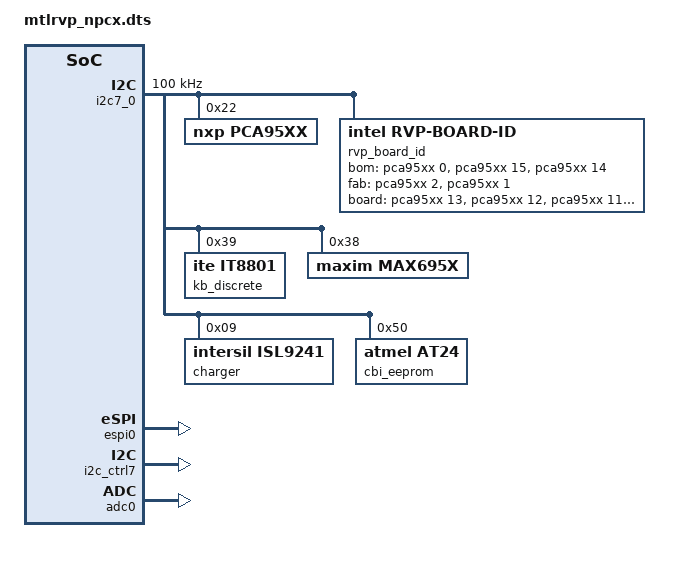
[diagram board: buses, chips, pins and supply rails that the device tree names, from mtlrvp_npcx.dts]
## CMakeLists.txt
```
# Copyright 2022 The ChromiumOS Authors
# Use of this source code is governed by a BSD-style license that can be
# found in the LICENSE file.

zephyr_library_sources("src/mtlrvp_npcx.c")
zephyr_library_sources("src/usb_config.c")
```

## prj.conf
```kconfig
# Copyright 2022 The ChromiumOS Authors
# Use of this source code is governed by a BSD-style license that can be
# found in the LICENSE file.

CONFIG_BOARD_MTLRVP_NPCX=y
CONFIG_PLATFORM_EC_KEYBOARD_CUSTOMIZATION=y
CONFIG_INPUT_SHELL_KBD_MATRIX_STATE=y
CONFIG_PLATFORM_EC_KEYBOARD_STRAUSS=y
```

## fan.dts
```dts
/* Copyright 2022 The ChromiumOS Authors
 * Use of this source code is governed by a BSD-style license that can be
 * found in the LICENSE file.
 */

/ {
	fans {
		compatible = "cros-ec,fans";

		fan_0 {
			pwms = <&pwm3 0 PWM_KHZ(30) PWM_POLARITY_NORMAL>;
			rpm-min = <3200>;
			rpm-start = <2200>;
			rpm-max = <6600>;
			tach = <&tach2>;
			pgood-gpio = <&all_sys_pwrgd>;
			enable-gpio = <&gpio_fan_control>;
		};
	};
};

/* Tachemeter for fan speed measurement */
&tach2 {
	status = "okay";
	pinctrl-0 = <&ta2_1_in_gp73>; /* TA2 input on GPIO73 */
	pinctrl-names = "default";
	port = <NPCX_TACH_PORT_A>; /* port-A is selected */
	sample-clk = <NPCX_TACH_FREQ_LFCLK>; /* Use LFCLK as sampling clock */
	pulses-per-round = <2>; /* number of pulses per round of encoder */
};

&pwm3 {
	status = "okay";
	pinctrl-0 = <&pwm3_gp80>;
	pinctrl-names = "default";
};
```

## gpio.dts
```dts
/* Copyright 2022 The ChromiumOS Authors
 * Use of this source code is governed by a BSD-style license that can be
 * found in the LICENSE file.
 */

/ {
	aliases {
		gpio-wp = &gpio_wp;
	};

	named-gpios {
		compatible = "named-gpios";

		ioex_kbd_intr_n: ioex-kbd-intr-n {
			gpios = <&gpio0 0 GPIO_INPUT>;
			enum-name = "GPIO_KB_DISCRETE_INT";
		};
		all_sys_pwrgd: all-sys-pwrgd {
			gpios = <&gpio7 0 GPIO_INPUT>;
			enum-name = "GPIO_PG_EC_ALL_SYS_PWRGD";
		};
		rsmrst_pwrgd: rsmrst-pwrgd {
			gpios = <&gpio6 6 (GPIO_INPUT | GPIO_VOLTAGE_1P8)>;
			enum-name = "GPIO_PG_EC_RSMRST_ODL";
		};
		pch_slp_s0_n: pch-slp-s0-n-ec {
			gpios = <&gpioa 1 GPIO_INPUT>;
			enum-name = "GPIO_PCH_SLP_S0_L"; /* 1.8V */
		};
		pm-slp-s3-n-ec {
			gpios = <&gpiob 0 GPIO_INPUT>; /* 1.8V */
			enum-name = "GPIO_PCH_SLP_S3_L";
		};
		pm-slp-s4-n-ec {
			gpios = <&gpioa 5 GPIO_INPUT>; /* 1.8V */
		};
		volume-up {
			gpios = <&gpio6 1 (GPIO_INPUT | GPIO_PULL_UP)>;
			enum-name = "GPIO_VOLUME_UP_L";
		};
		vol-dn-ec-r {
			gpios = <&gpio0 3 (GPIO_INPUT | GPIO_PULL_UP)>;
			enum-name = "GPIO_VOLUME_DOWN_L";
		};
		smc_lid: smc-lid {
			gpios = <&gpio0 1 (GPIO_INPUT | GPIO_PULL_UP)>;
			enum-name = "GPIO_LID_OPEN";
		};
		smc_onoff_n: smc-onoff-n {
			gpios = <&gpiod 2 GPIO_INPUT>;
			enum-name = "GPIO_POWER_BUTTON_L";
		};
		gpio_wp: wp-l {
			gpios = <&gpiod 5 GPIO_INPUT>;
		};
		std_adp_prsnt: std-adp-prsnt {
			gpios = <&gpioc 6 GPIO_INPUT>;
			enum-name = "GPIO_DC_JACK_PRESENT";
		};
		bc_acok: bc-acok-ec {
			gpios = <&gpio0 2 GPIO_INPUT>;
			enum-name = "GPIO_AC_PRESENT";
		};
		gpio_ec_pch_wake_odl: pch-wake-n {
			gpios = <&gpio7 4 GPIO_ODR_HIGH>;
		};
		espi-rst-n {
			gpios = <&gpio5 4 GPIO_INPUT>; /* 1.8V */
		};
		plt-rst-l {
			gpios = <&gpioa 2 GPIO_INPUT>; /* 1.8V */
		};
		slate-mode-indication {
			gpios = <&gpio9 4 GPIO_INPUT>; /* 1.8V */
		};
		prochot-ec {
			gpios = <&gpio6 0 GPIO_INPUT>;
			enum-name = "GPIO_CPU_PROCHOT";
		};
		sys_rst_odl: sys-rst-odl-ec {
			gpios = <&gpioc 5 GPIO_ODR_HIGH>;
			enum-name = "GPIO_SYS_RESET_L";
		};
		ec_pch_rsmrst_l: pm-rsmrst-r-n {
			gpios = <&gpioa 4 GPIO_OUTPUT_LOW>; /* 1.8V */
			enum-name = "GPIO_PCH_RSMRST_L";
		};
		pm-pwrbtn-n-ec {
			gpios = <&gpiod 4 GPIO_ODR_HIGH>;
			enum-name = "GPIO_PCH_PWRBTN_L";
		};
		ec_spi_oe_mecc: ec-spi-oe-mecc-r {
			gpios = <&gpioa 7 GPIO_OUTPUT_LOW>; /* 1.8V */
		};
		en_pp3300_a: ec-ds3-r {
			gpios = <&gpioc 4 GPIO_OUTPUT_LOW>;
			enum-name = "GPIO_EN_PP3300_A";
			alias = "GPIO_TEMP_SENSOR_POWER";
		};
		ec_pch_pwrok_od: pch-pwrok-ec-r {
			gpios = <&gpiod 3 GPIO_ODR_LOW>;
			enum-name = "GPIO_PCH_PWROK";
		};
		sys_pwrok_ec: sys-pwrok-ec {
			gpios = <&gpiof 5 GPIO_ODR_LOW>;
			enum-name = "GPIO_PCH_SYS_PWROK";
		};
		bat-det-ec {
			gpios = <&gpio7 6 GPIO_INPUT>;
			enum-name = "GPIO_BATT_PRES_ODL";
		};
		edp-bklt-en {
			gpios = <&gpioe 1 GPIO_OUTPUT_HIGH>;
		};
		/* TODO: move both LEDs to PWM */
		led-1-l-ec {
			gpios = <&gpiob 6 GPIO_OUTPUT_HIGH>;
		};
		led-2-l-ec {
			gpios = <&gpiob 7 GPIO_OUTPUT_HIGH>;
		};
		gpio_fan_control: therm-sen-mecc-r {
			gpios = <&gpioc 0 GPIO_OUTPUT_LOW>;
		};
		/* NOTE: Netname is USBC_TCPC_ALRT_P3 */
		ccd_mode_odl: ccd-mode-odl {
			gpios = <&gpio9 2 GPIO_INPUT>;
			enum-name = "GPIO_CCD_MODE_ODL";
		};
		smb-bs-clk {
			gpios = <&gpiob 3 GPIO_INPUT>;
		};
		smb-bs-data {
			gpios = <&gpiob 2 GPIO_INPUT>;
		};
		usbc-tcpc-i2c-clk-aic1 {
			gpios = <&gpiob 5 GPIO_INPUT>;
		};
		usbc-tcpc-i2c-data-aic1 {
			gpios = <&gpiob 4 GPIO_INPUT>;
		};
		usbc-tcpc-i2c-clk-aic2 {
			gpios = <&gpio9 0 (GPIO_INPUT | GPIO_VOLTAGE_1P8)>;
		};
		usbc-tcpc-i2c-data-aic2 {
			gpios = <&gpio8 7 (GPIO_INPUT | GPIO_VOLTAGE_1P8)>;
		};
		/* Unused 1.8V pins */
		i3c-1-sda-r {
			gpios = <&gpio5 0 GPIO_INPUT>;
		};
		i3c-1-scl-r {
			gpios = <&gpio5 6 GPIO_INPUT>;
		};
		espi-alert0-n-r {
			gpios = <&gpio5 7 GPIO_INPUT>;
		};
		tp-gpio95 {
			gpios = <&gpio9 5 GPIO_OUTPUT_LOW>;
			enum-name = "GPIO_DEBUG_TCPC";
		};
		cpu-c10-gate {
			gpios = <&gpio9 6 GPIO_INPUT>;
		};
		slp-s0-cs-n-ec {
			gpios = <&gpio9 7 GPIO_INPUT>;
		};
		rtc-rst-n-r {
			gpios = <&gpioa 0 GPIO_INPUT>;
		};
		tp-gpioa6 {
			gpios = <&gpioa 6 GPIO_INPUT>;
		};
		sml1-clk-mecc {
			gpios = <&gpio3 3 (GPIO_INPUT | GPIO_VOLTAGE_1P8)>;
		};
		sml1-data-mecc {
			gpios = <&gpio3 6 (GPIO_INPUT | GPIO_VOLTAGE_1P8)>;
		};
		sml1-alert {
			gpios = <&gpioc 7 (GPIO_INPUT | GPIO_VOLTAGE_1P8)>;
		};
		smb-pch-alrt {
			gpios = <&gpioa 3 GPIO_INPUT>;
		};
		smb-pch-data {
			gpios = <&gpioc 1 (GPIO_INPUT | GPIO_VOLTAGE_1P8)>;
		};
		smb-pch-clk {
			gpios = <&gpioc 2 (GPIO_INPUT | GPIO_VOLTAGE_1P8)>;
		};
		/* Unused 3.3V pins */
		cpu-cat-err-mecc {
			gpios = <&gpio3 4 GPIO_INPUT>;
		};
		tp-gpio37 {
			gpios = <&gpio3 7 GPIO_INPUT>;
		};
		tp-vccpdsw-3p3-ec {
			gpios = <&gpio4 5 GPIO_INPUT>;
		};
		mech-pwr-btn-in-odl {
			gpios = <&gpio6 2 GPIO_INPUT>;
		};
		tp-gpio63 {
			gpios = <&gpio6 3 GPIO_INPUT>;
		};
		tp-gpio67 {
			gpios = <&gpio6 7 GPIO_INPUT>;
		};
		tp-gpio72 {
			gpios = <&gpio7 2 GPIO_INPUT>;
		};
		tp-gpio75 {
			gpios = <&gpio7 5 GPIO_INPUT>;
		};
		ec-peci-ec {
			gpios = <&gpio8 1 GPIO_INPUT>;
		};
		tp-gpiob1 {
			gpios = <&gpiob 1 GPIO_INPUT>;
		};
		std-adpt-cntrl-GPIO_r {
			gpios = <&gpioc 3 GPIO_INPUT>;
		};
		ec-packet-mode-ec {
			gpios = <&gpioe 2 GPIO_INPUT>;
		};
		tp-gpioe3 {
			gpios = <&gpioe 3 GPIO_INPUT>;
		};
		boot-stall-r {
			gpios = <&gpioe 5 GPIO_INPUT>;
		};
		tp-gpiof0 {
			gpios = <&gpiof 0 GPIO_INPUT>;
		};
		tp-gpiof1 {
			gpios = <&gpiof 1 GPIO_INPUT>;
		};
		tp-gpiof4 {
			gpios = <&gpiof 4 GPIO_INPUT>;
		};

		/* KBD IOEX configuration */
		srtc-rst {
			gpios = <&ioex_it8801_port0 3 GPIO_OUTPUT_LOW>;
		};
		ec-h1-packet-mode {
			gpios = <&ioex_it8801_port0 4 GPIO_OUTPUT_LOW>;
			enum-name = "GPIO_PACKET_MODE_EN";
		};
		rtc-rst {
			gpios = <&ioex_it8801_port0 6 GPIO_OUTPUT_LOW>;
		};
		ec-entering-rw {
			gpios = <&ioex_it8801_port0 7 GPIO_OUTPUT_LOW>;
			enum-name = "GPIO_ENTERING_RW";
		};
		ioex-sys-rst-odl-ec {
			gpios = <&ioex_it8801_port1 0 GPIO_INPUT>;
		};
		ioex-slate-mode-indication {
			gpios = <&ioex_it8801_port1 2 GPIO_INPUT>;
		};


		/* unimplemented GPIOs */
		en-pp5000 {
			enum-name = "GPIO_EN_PP5000";
		};
	};
};
```

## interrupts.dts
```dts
/* Copyright 2022 The ChromiumOS Authors
 * Use of this source code is governed by a BSD-style license that can be
 * found in the LICENSE file.
 */
/ {
	gpio-interrupts {
		compatible = "cros-ec,gpio-interrupts";

		int_lid_open: lid_open {
			irq-pin = <&smc_lid>;
			flags = <GPIO_INT_EDGE_BOTH>;
			handler = "lid_interrupt";
		};
		int_power_button: power_button {
			irq-pin = <&smc_onoff_n>;
			flags = <GPIO_INT_EDGE_BOTH>;
			handler = "power_button_interrupt";
		};
		int_ac_present: ac_present {
			irq-pin = <&bc_acok>;
			flags = <GPIO_INT_EDGE_BOTH>;
			handler = "extpower_interrupt";
		};
		int_ioex_kbd_intr_n: ioex_kbd_intr_n {
			irq-pin = <&ioex_kbd_intr_n>;
			flags = <GPIO_INT_EDGE_FALLING>;
			handler = "io_expander_it8801_interrupt";
		};
		int_ccd_mode: ccd_mode {
			irq-pin = <&ccd_mode_odl>;
			flags = <GPIO_INT_EDGE_BOTH>;
			handler = "board_connect_c0_sbu";
		};
		int_dc_jack_present: dc_jack_present {
			irq-pin = <&std_adp_prsnt>;
			flags = <GPIO_INT_EDGE_BOTH>;
			handler = "board_dc_jack_interrupt";
		};
	};
};
```

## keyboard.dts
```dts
/* Copyright 2022 The ChromiumOS Authors
 * Use of this source code is governed by a BSD-style license that can be
 * found in the LICENSE file.
 */
&cros_kb_raw {
	status = "okay";
	/* No KSO2 (it's inverted and implemented by GPIO) */
	pinctrl-0 = <
		&ksi0_gp31
		&ksi1_gp30
		&ksi2_gp27
		&ksi3_gp26
		&ksi4_gp25
		&ksi5_gp24
		&ksi6_gp23
		&ksi7_gp22
		&kso00_gp21
		&kso01_gp20
		&kso02_gp17
		&kso03_gp16
		&kso04_gp15
		&kso05_gp14
		&kso06_gp13
		&kso07_gp12
		&kso08_gp11
		&kso09_gp10
		&kso10_gp07
		&kso11_gp06
		&kso12_gp05
		&kso13_gp04
		&kso14_gp82
		&kso15_gp83
	>;
	pinctrl-names = "default";
};

/ {
	chosen {
		cros-ec,keyboard = &kbd;
	};

	cros-keyscan {
		compatible = "cros-ec,keyscan";

		/* TODO: Use actual values */
		actual-key-mask = <
			0xff  /* C0 */
			0xff  /* C1 */
			0xff  /* C2 */
			0xff  /* C3 */
			0xff  /* C4 */
			0xff  /* C5 */
			0xff  /* C6 */
			0xff  /* C7 */
			0xff  /* C8 */
			0xff  /* C9 */
			0xff  /* C10 */
			0xff  /* C11 */
			0xff  /* C12 */
			0xff  /* C13 */
			0xff  /* C14 */
			0xff  /* C15 */
			>;
	};
};

&vivaldi_kbd {
	vivaldi-keys = <
		KBD_RC(6, 2)   /* T1 */
		KBD_RC(6, 3)   /* T2 */
		KBD_RC(1, 3)   /* T3 */
		KBD_RC(3, 3)   /* T4 */
		KBD_RC(7, 0)   /* T5 */
		KBD_RC(3, 6)   /* T6 */
		KBD_RC(1, 7)   /* T7 */
		KBD_RC(6, 7)   /* T8 */
		KBD_RC(6, 10)  /* T9 */
		KBD_RC(7, 10)  /* T10 */
		KBD_RC(3, 10)  /* T11 */
		KBD_RC(5, 10)  /* T12 */
	>;

	kbd_config_0: kbd-config-0 {
		vivaldi-codes = <
			VIVALDI_TK_VOL_MUTE           /* T1 */
			VIVALDI_TK_VOL_DOWN           /* T2 */
			VIVALDI_TK_VOL_UP             /* T3 */
			VIVALDI_TK_PLAY_PAUSE         /* T4 */
			VIVALDI_TK_FULLSCREEN         /* T5* */
			VIVALDI_TK_SNAPSHOT           /* T6* */
			VIVALDI_TK_BACK               /* T7* */
			VIVALDI_TK_REFRESH            /* T8* */
			VIVALDI_TK_BRIGHTNESS_DOWN    /* T9 */
			VIVALDI_TK_BRIGHTNESS_UP      /* T10 */
			VIVALDI_TK_DONOTDISTURB       /* T11* */
			VIVALDI_TK_OVERVIEW           /* T12* */
		>;
		capabilities = <(VIVALDI_KEYBD_CAP_FUNCTION_KEYS |
				VIVALDI_KEYBD_CAP_SCRNLOCK_KEY |
				VIVALDI_KEYBD_CAP_ASSISTANT_KEY)>;
	};
};
```

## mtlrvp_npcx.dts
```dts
/* Copyright 2022 The ChromiumOS Authors
 * Use of this source code is governed by a BSD-style license that can be
 * found in the LICENSE file.
 */

 #include <dt-bindings/usb_pd_tcpm.h>

/ {
	chosen {
		cros,rtc = &mtc;
		zephyr,host-cmd-espi-backend = &espi0;
	};

	hibernate-wake-pins {
		compatible = "cros-ec,hibernate-wake-pins";
		wakeup-irqs = <
			&int_ac_present
			&int_lid_open
			&int_power_button
		>;
	};

	named-i2c-ports {
		compatible = "named-i2c-ports";

		i2c_charger: charger {
			i2c-port = <&i2c7_0>;
			enum-names = "I2C_PORT_CHARGER",
				"I2C_PORT_BATTERY",
				"I2C_PORT_EEPROM",
				"I2C_PORT_KB_DISCRETE",
				"I2C_PORT_PORT80";
		};
	};

	named-adc-channels {
		compatible = "named-adc-channels";

		adc_ambient: ambient {
			enum-name = "ADC_TEMP_SENSOR_1";
			io-channels = <&adc0 3>;
		};
		adc_ddr: ddr {
			enum-name = "ADC_TEMP_SENSOR_2";
			io-channels = <&adc0 4>;
		};
		adc_skin: skin {
			enum-name = "ADC_TEMP_SENSOR_3";
			io-channels = <&adc0 2>;
		};
		adc_vr: vr {
			enum-name = "ADC_TEMP_SENSOR_4";
			io-channels = <&adc0 1>;
		};
	};
};

/* charger */
&i2c7_0 {
	label = "I2C_CHARGER";
	status = "okay";
	clock-frequency = <I2C_BITRATE_STANDARD>;
	pinctrl-0 = <&i2c7_0_sda_scl_gpb2_b3>;
	pinctrl-names = "default";

	pca95xx: pca95xx@22 {
		compatible = "nxp,pca95xx";
		label = "PCA95XX";
		reg = <0x22>;
		gpio-controller;
		#gpio-cells = <2>;
		ngpios = <16>;
	};

	rvp_board_id: rvp-board-id {
		compatible = "intel,rvp-board-id";

		/*
		 * BOM ID [2]   : IOEX[0]
		 * BOM ID [1:0] : IOEX[15:14]
		 */
		bom-gpios = <&pca95xx 0 0>, <&pca95xx 15 0>, <&pca95xx 14 0>;

		/*
		 * FAB ID [1:0] : IOEX[2:1]
		 */
		fab-gpios = <&pca95xx 2 0>, <&pca95xx 1 0>;

		/*
		 * BOARD ID[5:0] : IOEX[13:8]
		 */
		board-gpios = <&pca95xx 13 0>, <&pca95xx 12 0>, <&pca95xx 11 0>,
			      <&pca95xx 10 0>, <&pca95xx 9 0>, <&pca95xx 8 0>;
	};

	kb_discrete: ite-it8801@39 {
		compatible = "ite,it8801";
		reg = <0x39>;
	};

	max695x@38 {
		compatible = "maxim,max695x";
		reg = <0x38>;
	};

	charger: isl9241@9 {
		compatible = "intersil,isl9241";
		status = "okay";
		reg = <0x9>;
	};

	cbi_eeprom: eeprom@50 {
		compatible = "atmel,at24";
		reg = <0x50>;
		size = <2048>;
		pagesize = <16>;
		address-width = <8>;
		timeout = <5>;
	};
};

/* host interface */
&espi0 {
	status = "okay";
	pinctrl-0 = <&espi_lpc_gp46_47_51_52_53_54_55_57>;
	pinctrl-names = "default";
};

&i2c_ctrl7 {
	status = "okay";
};

&adc0 {
	status = "okay";
	pinctrl-0 = <&adc0_chan1_gp44
		     &adc0_chan2_gp43
		     &adc0_chan3_gp42
		     &adc0_chan4_gp41>;
	pinctrl-names = "default";
};
```

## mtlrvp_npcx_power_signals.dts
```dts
/* Copyright 2022 The ChromiumOS Authors
 * Use of this source code is governed by a BSD-style license that can be
 * found in the LICENSE file.
 */

/ {
	chosen {
		intel-ap-pwrseq,espi = &espi0;
	};

	common-pwrseq {
		compatible = "intel,ap-pwrseq";

		sys-pwrok-delay = <3>;
		all-sys-pwrgd-timeout = <20>;
		sys-reset-delay = <60>;
	};

	pwr-en-pp3300-s5 {
		compatible = "intel,ap-pwrseq-gpio";
		dbg-label = "PP3300_S5 enable output to LS";
		enum-name = "PWR_EN_PP3300_A";
		gpios = <&gpioc 4 0>;
		output;
	};
	pwr-pg-ec-rsmrst-od {
		compatible = "intel,ap-pwrseq-gpio";
		dbg-label = "RSMRST power good from regulator";
		enum-name = "PWR_RSMRST";
		gpios = <&gpio6 6 0>;
		interrupt-flags = <GPIO_INT_EDGE_BOTH>;
	};
	pwr-ec-pch-rsmrst-odl {
		compatible = "intel,ap-pwrseq-gpio";
		dbg-label = "RSMRST output to PCH";
		enum-name = "PWR_EC_PCH_RSMRST";
		gpios = <&gpioa 4 0>;
		output;
	};
	pwr-slp-s0-l {
		compatible = "intel,ap-pwrseq-gpio";
		dbg-label = "SLP_S0_L input from PCH";
		enum-name = "PWR_SLP_S0";
		gpios = <&gpioa 1 GPIO_ACTIVE_LOW>;
		interrupt-flags = <GPIO_INT_EDGE_BOTH>;
	};
	pwr-pch-pwrok {
		compatible = "intel,ap-pwrseq-gpio";
		dbg-label = "PCH_PWROK output to PCH";
		enum-name = "PWR_PCH_PWROK";
		gpios = <&gpiod 3 GPIO_OPEN_DRAIN>;
		output;
	};
	pwr-ec-pch-sys-pwrok {
		compatible = "intel,ap-pwrseq-gpio";
		dbg-label = "SYS_PWROK output to PCH";
		enum-name = "PWR_EC_PCH_SYS_PWROK";
		gpios = <&gpiof 5 GPIO_OPEN_DRAIN>;
		output;
	};
	pwr-sys-rst-l {
		compatible = "intel,ap-pwrseq-gpio";
		dbg-label = "SYS_RESET# output to PCH";
		enum-name = "PWR_SYS_RST";
		gpios = <&gpioc 5 (GPIO_ACTIVE_LOW|GPIO_OPEN_DRAIN)>;
		output;
	};
	pwr-slp-s3 {
		compatible = "intel,ap-pwrseq-vw";
		dbg-label = "SLP_S3 virtual wire input from PCH";
		enum-name = "PWR_SLP_S3";
		virtual-wire = "ESPI_VWIRE_SIGNAL_SLP_S3";
		vw-invert;
	};
	pwr-slp-s4 {
		compatible = "intel,ap-pwrseq-vw";
		dbg-label = "SLP_S4 virtual wire input from PCH";
		enum-name = "PWR_SLP_S4";
		virtual-wire = "ESPI_VWIRE_SIGNAL_SLP_S4";
		vw-invert;
	};
	pwr-slp-s5 {
		compatible = "intel,ap-pwrseq-vw";
		dbg-label = "SLP_S5 virtual wire input from PCH";
		enum-name = "PWR_SLP_S5";
		virtual-wire = "ESPI_VWIRE_SIGNAL_SLP_S5";
		vw-invert;
	};
	pwr-all-sys-pwrgd {
		compatible = "intel,ap-pwrseq-gpio";
		dbg-label = "all power good";
		enum-name = "PWR_ALL_SYS_PWRGD";
		gpios = <&gpio7 0 0>;
		interrupt-flags = <GPIO_INT_EDGE_BOTH>;
	};

	added-states-test {
		compatible = "ap-pwrseq-sub-states";
		chipset = "AP_POWER_STATE_S0IX";
	};
};

/*
 * Because the power signals directly reference the GPIOs,
 * the correspinding named-gpios need to have no-auto-init set.
 */
&en_pp3300_a {
	no-auto-init;
};
&rsmrst_pwrgd {
	no-auto-init;
};
&ec_pch_rsmrst_l {
	no-auto-init;
};
&pch_slp_s0_n {
	no-auto-init;
};
&ec_pch_pwrok_od {
	no-auto-init;
};
&sys_pwrok_ec {
	no-auto-init;
};
&sys_rst_odl {
	no-auto-init;
};
&all_sys_pwrgd {
	no-auto-init;
};
```

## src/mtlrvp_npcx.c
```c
/* Copyright 2022 The ChromiumOS Authors
 * Use of this source code is governed by a BSD-style license that can be
 * found in the LICENSE file.
 */

#include "battery.h"
#include "battery_fuel_gauge.h"
#include "charger.h"
#include "common.h"
#include "console.h"
#include "extpower.h"
#include "gpio.h"
#include "gpio/gpio_int.h"
#include "hooks.h"
#include "i2c.h"
#include "intel_rvp_board_id.h"
#include "intelrvp.h"
#include "ioexpander.h"
#include "isl9241.h"
#include "keyboard_raw.h"
#include "power/meteorlake.h"
#include "sn5s330.h"
#include "system.h"
#include "task.h"
#include "tusb1064.h"
#include "usb_mux.h"
#include "usbc/usb_muxes.h"
#include "util.h"
#include "usb_config.h"
#include <zephyr/drivers/espi.h>

#define CPRINTF(format, args...) cprintf(CC_COMMAND, format, ##args)
#define CPRINTS(format, args...) cprints(CC_COMMAND, format, ##args)

static void board_int_init(void)
{
	/* Enable TCPC interrupts. */
	gpio_enable_dt_interrupt(GPIO_INT_FROM_NODELABEL(int_usb_c0_c1_tcpc));
#if defined(HAS_TASK_PD_C2)
	gpio_enable_dt_interrupt(GPIO_INT_FROM_NODELABEL(int_usb_c2_tcpc));
	gpio_enable_dt_interrupt(GPIO_INT_FROM_NODELABEL(int_usb_c3_tcpc));
#endif

	/* Enable CCD Mode interrupt */
	gpio_enable_dt_interrupt(GPIO_INT_FROM_NODELABEL(int_ccd_mode));

	/* Enable DC jack interrupt */
	gpio_enable_dt_interrupt(GPIO_INT_FROM_NODELABEL(int_dc_jack_present));
}
static int board_pre_task_peripheral_init(void)
{
	/* Only reset tcpc/pd if not sysjump */
	if (!system_jumped_late()) {
		/* Initialize tcpc and all ioex */
		board_reset_pd_mcu();
	}

	/* Initialize all interrupts */
	board_int_init();

	/* Make sure SBU are routed to CCD or AUX based on CCD status at init */
	board_connect_c0_sbu_deferred();

	/* Configure board specific retimer & mux */
	configure_retimer_usbmux();

	return 0;
}
SYS_INIT(board_pre_task_peripheral_init, APPLICATION,
	 CONFIG_APPLICATION_INIT_PRIORITY);
```
